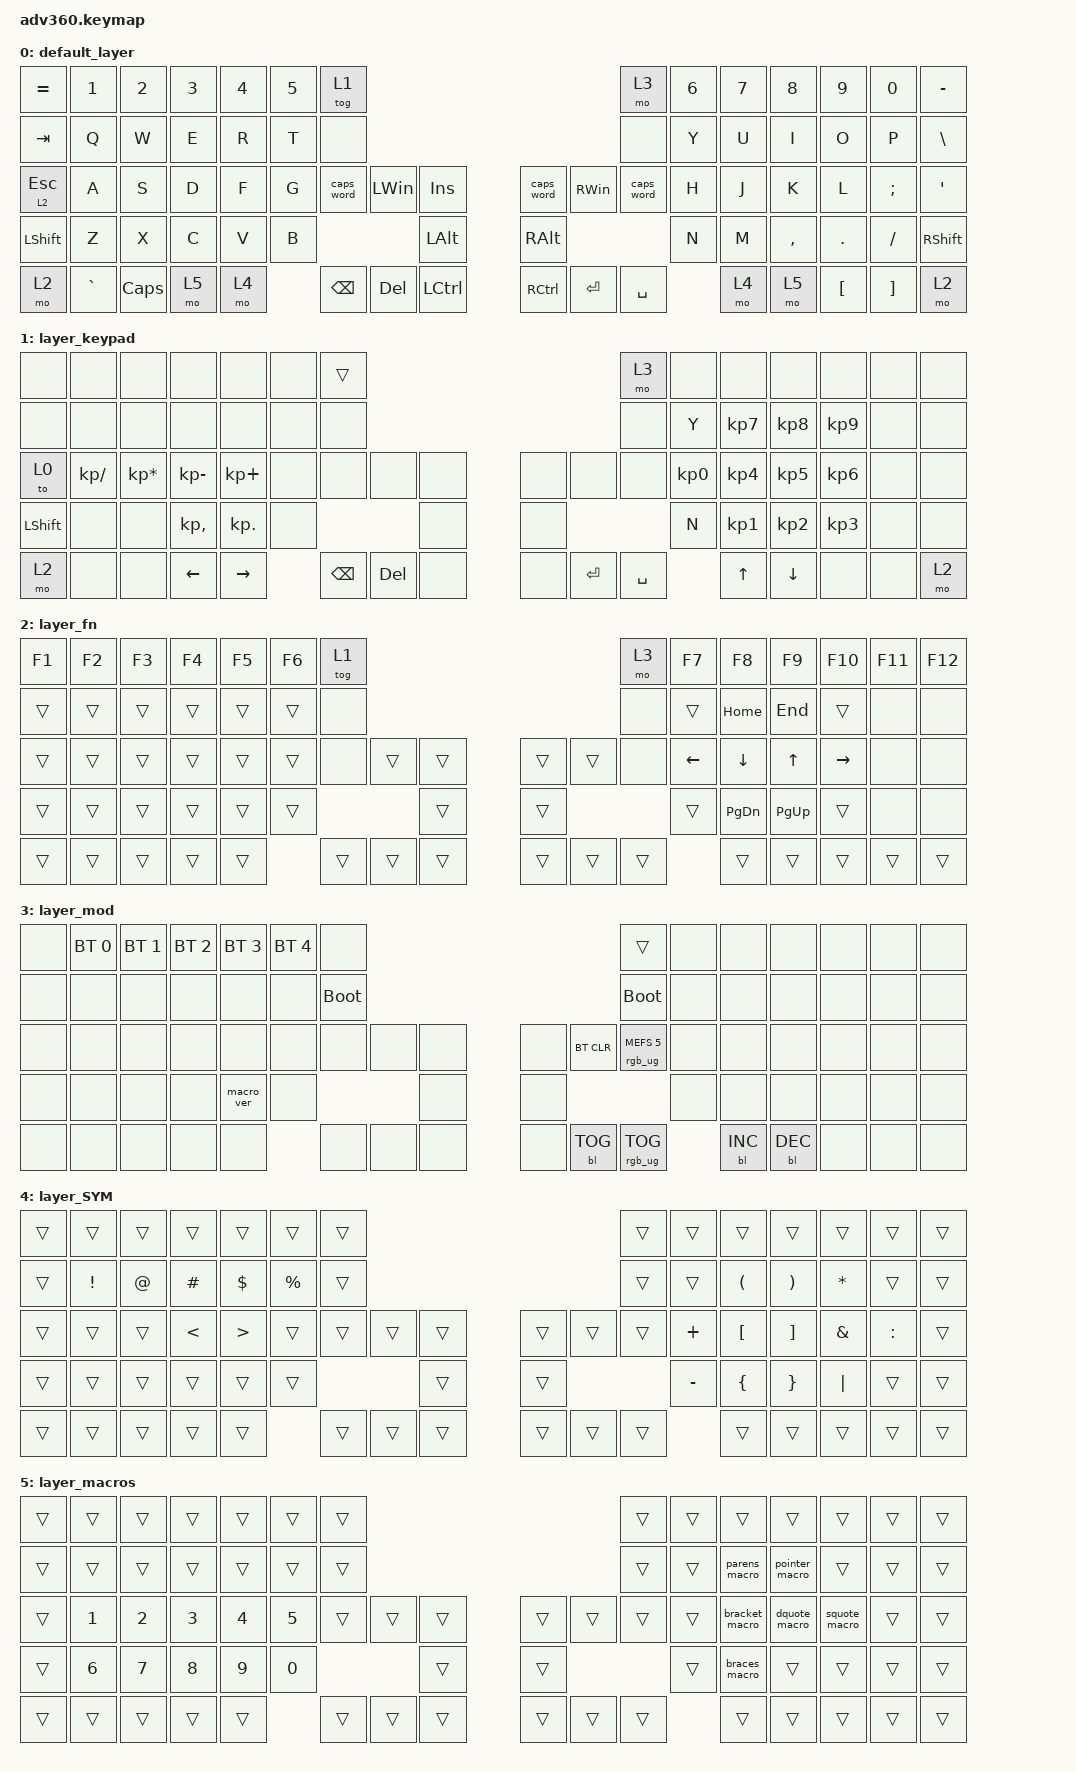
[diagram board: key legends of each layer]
/*
 * Copyright (c) 2020 The ZMK Contributors
 *
 * SPDX-License-Identifier: MIT
 */
/* THIS FILE WAS GENERATED!
 *
 * This file was generated automatically. You may or may not want to
 * edit it directly.
 */

#include <behaviors.dtsi>
#include <dt-bindings/zmk/backlight.h>
#include <dt-bindings/zmk/bt.h>
#include <dt-bindings/zmk/keys.h>
#include <dt-bindings/zmk/rgb.h>

/ {
    behaviors {
        #include "macros.dtsi"
    #include "version.dtsi"
    };

    macros {
        braces_macro: braces_macro {
            compatible = "zmk,behavior-macro";
            #binding-cells = <0>;
            bindings = <&kp LEFT_BRACE &kp RIGHT_BRACE &kp LEFT_ARROW>;
            label = "BRACES_MACRO";
        };

        parens_macro: parens_macro {
            compatible = "zmk,behavior-macro";
            #binding-cells = <0>;
            bindings = <&kp LEFT_PARENTHESIS &kp RIGHT_PARENTHESIS &kp LEFT_ARROW>;
            label = "PARENS_MACRO";
        };

        bracket_macro: bracket_macro {
            compatible = "zmk,behavior-macro";
            #binding-cells = <0>;
            bindings = <&kp LEFT_BRACKET &kp RIGHT_BRACKET &kp LEFT_ARROW>;
            label = "BRACKET_MACRO";
        };

        pointer_macro: pointer_macro {
            compatible = "zmk,behavior-macro";
            #binding-cells = <0>;
            bindings = <&kp KP_MINUS &kp GREATER_THAN>;
            label = "POINTER_MACRO";
        };

        dquote_macro: dquote_macro {
            compatible = "zmk,behavior-macro";
            #binding-cells = <0>;
            bindings = <&kp DOUBLE_QUOTES &kp DOUBLE_QUOTES &kp LEFT_ARROW>;
            label = "DQUOTE_MACRO";
        };

        squote_macro: squote_macro {
            compatible = "zmk,behavior-macro";
            #binding-cells = <0>;
            bindings = <&kp SINGLE_QUOTE &kp SINGLE_QUOTE &kp LEFT_ARROW>;
            label = "SQUOTE_MACRO";
        };
    };

    keymap {
        compatible = "zmk,keymap";

        default_layer {
            bindings = <
&kp EQUAL     &kp N1     &kp N2    &kp N3  &kp N4  &kp N5  &tog 1                                                                            &mo 3       &kp N6  &kp N7  &kp N8     &kp N9    &kp N0         &kp MINUS
&kp TAB       &kp Q      &kp W     &kp E   &kp R   &kp T   &none                                                                             &none       &kp Y   &kp U   &kp I      &kp O     &kp P          &kp BSLH
&lt 2 ESCAPE  &kp A      &kp S     &kp D   &kp F   &kp G   &caps_word  &kp LEFT_WIN  &kp INSERT            &caps_word         &kp RIGHT_WIN  &caps_word  &kp H   &kp J   &kp K      &kp L     &kp SEMICOLON  &kp SQT
&kp LSHFT     &kp Z      &kp X     &kp C   &kp V   &kp B                             &kp LEFT_ALT          &kp RIGHT_ALT                                 &kp N   &kp M   &kp COMMA  &kp DOT   &kp FSLH       &kp RSHFT
&mo 2         &kp GRAVE  &kp CAPS  &mo 5   &mo 4           &kp BSPC    &kp DELETE    &kp LEFT_CONTROL      &kp RIGHT_CONTROL  &kp RETURN     &kp SPACE           &mo 4   &mo 5      &kp LBKT  &kp RBKT       &mo 2
            >;
        };

        layer_keypad {
            bindings = <
&none      &none         &none            &none         &none        &none  &trans                                          &mo 3      &none      &none      &none      &none      &none  &none
&none      &none         &none            &none         &none        &none  &none                                           &none      &kp Y      &kp KP_N7  &kp KP_N8  &kp KP_N9  &none  &none
&to 0      &kp KP_SLASH  &kp KP_MULTIPLY  &kp KP_MINUS  &kp KP_PLUS  &none  &none     &none    &none      &none  &none      &none      &kp KP_N0  &kp KP_N4  &kp KP_N5  &kp KP_N6  &none  &none
&kp LSHFT  &none         &none            &kp KP_COMMA  &kp KP_DOT   &none                     &none      &none                        &kp N      &kp KP_N1  &kp KP_N2  &kp KP_N3  &none  &none
&mo 2      &none         &none            &kp LEFT      &kp RIGHT           &kp BSPC  &kp DEL  &none      &none  &kp ENTER  &kp SPACE             &kp UP     &kp DOWN   &none      &none  &mo 2
            >;
        };

        layer_fn {
            bindings = <
&kp F1  &kp F2  &kp F3  &kp F4  &kp F5  &kp F6  &tog 1                                      &mo 3   &kp F7    &kp F8     &kp F9       &kp F10    &kp F11  &kp F12
&trans  &trans  &trans  &trans  &trans  &trans  &none                                       &none   &trans    &kp HOME   &kp END      &trans     &none    &none
&trans  &trans  &trans  &trans  &trans  &trans  &none   &trans  &trans      &trans  &trans  &none   &kp LEFT  &kp DOWN   &kp UP       &kp RIGHT  &none    &none
&trans  &trans  &trans  &trans  &trans  &trans                  &trans      &trans                  &trans    &kp PG_DN  &kp PAGE_UP  &trans     &none    &none
&trans  &trans  &trans  &trans  &trans          &trans  &trans  &trans      &trans  &trans  &trans            &trans     &trans       &trans     &trans   &trans
            >;
        };

        layer_mod {
            bindings = <
&none  &bt BT_SEL 0  &bt BT_SEL 1  &bt BT_SEL 2  &bt BT_SEL 3  &bt BT_SEL 4  &none                                             &trans                  &none  &none       &none       &none  &none  &none
&none  &none         &none         &none         &none         &none         &bootloader                                       &bootloader             &none  &none       &none       &none  &none  &none
&none  &none         &none         &none         &none         &none         &none        &none  &none      &none  &bt BT_CLR  &rgb_ug RGB_MEFS_CMD 5  &none  &none       &none       &none  &none  &none
&none  &none         &none         &none         &macro_ver    &none                             &none      &none                                      &none  &none       &none       &none  &none  &none
&none  &none         &none         &none         &none                       &none        &none  &none      &none  &bl BL_TOG  &rgb_ug RGB_TOG                &bl BL_INC  &bl BL_DEC  &none  &none  &none
            >;
        };

        layer_SYM {
            bindings = <
&trans  &trans           &trans  &trans         &trans            &trans     &trans                                      &trans  &trans     &trans                &trans                 &trans    &trans     &trans
&trans  &kp EXCLAMATION  &kp AT  &kp POUND      &kp DOLLAR        &kp PRCNT  &trans                                      &trans  &trans     &kp LEFT_PARENTHESIS  &kp RIGHT_PARENTHESIS  &kp STAR  &trans     &trans
&trans  &trans           &trans  &kp LESS_THAN  &kp GREATER_THAN  &trans     &trans  &trans  &trans      &trans  &trans  &trans  &kp PLUS   &kp LEFT_BRACKET      &kp RIGHT_BRACKET      &kp AMPS  &kp COLON  &trans
&trans  &trans           &trans  &trans         &trans            &trans                     &trans      &trans                  &kp MINUS  &kp LEFT_BRACE        &kp RIGHT_BRACE        &kp PIPE  &trans     &trans
&trans  &trans           &trans  &trans         &trans                       &trans  &trans  &trans      &trans  &trans  &trans             &trans                &trans                 &trans    &trans     &trans
            >;
        };

        layer_macros {
            bindings = <
&trans  &trans        &trans        &trans        &trans        &trans        &trans                                      &trans  &trans  &trans          &trans          &trans         &trans  &trans
&trans  &trans        &trans        &trans        &trans        &trans        &trans                                      &trans  &trans  &parens_macro   &pointer_macro  &trans         &trans  &trans
&trans  &kp NUMBER_1  &kp NUMBER_2  &kp NUMBER_3  &kp NUMBER_4  &kp NUMBER_5  &trans  &trans  &trans      &trans  &trans  &trans  &trans  &bracket_macro  &dquote_macro   &squote_macro  &trans  &trans
&trans  &kp NUMBER_6  &kp NUMBER_7  &kp NUMBER_8  &kp NUMBER_9  &kp NUMBER_0                  &trans      &trans                  &trans  &braces_macro   &trans          &trans         &trans  &trans
&trans  &trans        &trans        &trans        &trans                      &trans  &trans  &trans      &trans  &trans  &trans          &trans          &trans          &trans         &trans  &trans
            >;
        };
    };
};
